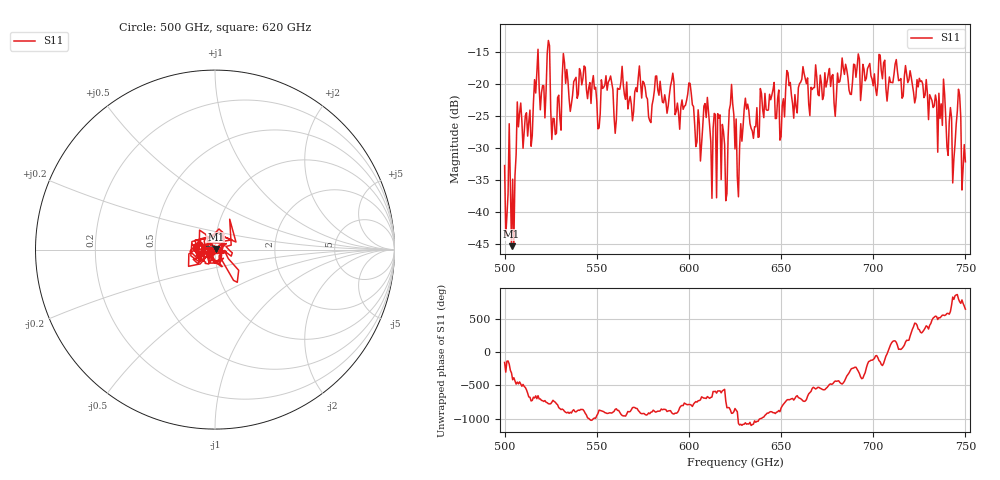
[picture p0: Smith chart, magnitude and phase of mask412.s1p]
!Created with skrf (http://scikit-rf.org).
# GHz S MA R 50.0
!freq magS11 angS11
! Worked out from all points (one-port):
!   401 points, 500 GHz to 750 GHz, reference 50 ohm
!   lowest |S11| = -45.3 dB at 503.8 GHz (marker M1), VSWR 1.01, Z = 50.4 + j0.384 ohm
!   |S11| at or under -10 dB: start of sweep to end of sweep
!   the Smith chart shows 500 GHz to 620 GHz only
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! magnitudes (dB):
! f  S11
! 500 GHz  -32.7
! 503.8 GHz  -45.3
! 505 GHz  -45.2
! 508.1 GHz  -24.5
! 513.8 GHz  -24.0
! 516.9 GHz  -21.4
! 523.8 GHz  -13.1
! 526.9 GHz  -25.4
! 531.2 GHz  -18.8
! 550.6 GHz  -27.0
! 562.5 GHz  -20.8
! 579.4 GHz  -26.0
! 590.6 GHz  -19.5
! 593.8 GHz  -22.9
! 600.6 GHz  -19.9
! 605 GHz  -24.0
! 609.4 GHz  -25.2
! 620 GHz  -38.2
! 623.1 GHz  -20.0
! 625 GHz  -30.1
! 627.5 GHz  -29.9
! 631.2 GHz  -23.9
! 656.2 GHz  -23.1
! 687.5 GHz  -21.5
! 718.8 GHz  -19.7
! 743.8 GHz  -31.7
! 746.2 GHz  -20.8
! 750 GHz  -32.1
